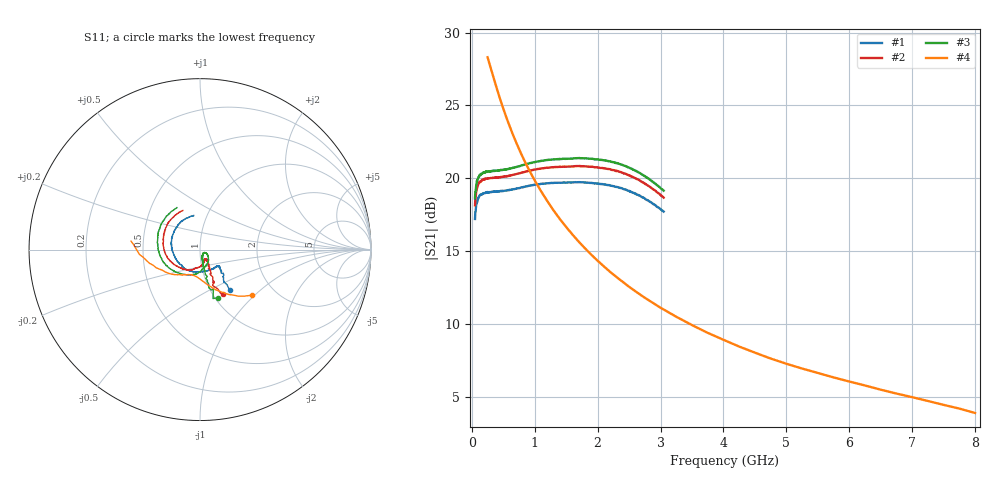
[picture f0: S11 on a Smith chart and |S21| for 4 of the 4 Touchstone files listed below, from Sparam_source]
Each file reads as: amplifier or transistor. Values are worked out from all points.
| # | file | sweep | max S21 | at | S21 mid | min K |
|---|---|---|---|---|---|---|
| 1 | BGA2800_3p0V_25C.s2p | 50 MHz to 3.05 GHz | 19.7 dB | 1.7 GHz | 19.7 dB at 1.55 GHz | 2.87 |
| 2 | BGA2800_3p3V_25C.s2p | 50 MHz to 3.05 GHz | 20.8 dB | 1.71 GHz | 20.8 dB at 1.55 GHz | 2.35 |
| 3 | BGA2800_3p6V_25C.s2p | 50 MHz to 3.05 GHz | 21.4 dB | 1.71 GHz | 21.3 dB at 1.55 GHz | 2.12 |
| 4 | GRF2070_2080_5V_70mA_25C.s2p | 250 MHz to 8 GHz | 28.3 dB | 250 MHz | 13.2 dB at 2.3 GHz | 1.01 |
